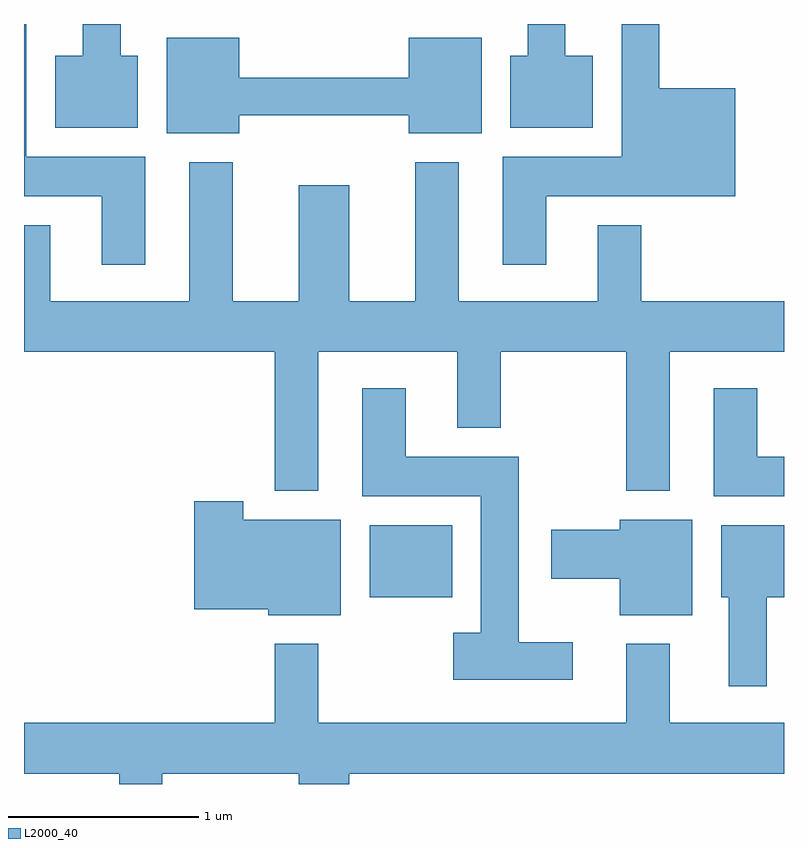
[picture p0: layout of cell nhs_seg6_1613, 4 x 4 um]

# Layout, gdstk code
import gdstk
lib = gdstk.Library(unit=1e-6, precision=1e-09)
def R(c, l, rs):  # rectangles x0, y0, x1, y1
    for r in rs: c.add(gdstk.rectangle(r[:2], r[2:], *l))
def P(c, l, *ps):  # polygons
    for p in ps: c.add(gdstk.Polygon(p, *l))
L2000_40 = (2000, 40)

nhs_seg6_1613 = lib.new_cell('nhs_seg6_1613')
R(nhs_seg6_1613, L2000_40, [(235.431,1593.146,235.864,1593.524)])
P(nhs_seg6_1613, L2000_40, [(236.604,1595.994),(236.459,1595.994),(236.459,1596.162),(236.261,1596.162),(236.261,1595.994),(236.171,1595.994),(236.171,1595.616),(236.604,1595.616)],
  [(236.359,1595.256),(237.354,1595.256),(237.354,1595.824),(236.954,1595.824),(236.954,1596.162),(236.756,1596.162),(236.756,1595.464),(236.131,1595.464),(236.131,1594.896),(236.359,1594.896)],
  [(234.249,1595.464),(233.624,1595.464),(233.624,1596.162),(233.611,1596.162),(233.611,1595.256),(234.021,1595.256),(234.021,1594.896),(234.249,1594.896)],
  [(234.209,1595.994),(234.119,1595.994),(234.119,1596.162),(233.921,1596.162),(233.921,1595.994),(233.776,1595.994),(233.776,1595.616),(234.209,1595.616)],
  [(234.744,1595.681),(235.636,1595.681),(235.636,1595.586),(236.019,1595.586),(236.019,1596.089),(235.636,1596.089),(235.636,1595.879),(234.744,1595.879),(234.744,1596.089),(234.361,1596.089),(234.361,1595.586),(234.744,1595.586)],
  [(235.159,1594.436),(235.891,1594.436),(235.891,1594.036),(236.119,1594.036),(236.119,1594.436),(236.781,1594.436),(236.781,1593.706),(237.009,1593.706),(237.009,1594.436),(237.611,1594.436),(237.611,1594.704),(236.859,1594.704),(236.859,1595.104),(236.631,1595.104),(236.631,1594.704),(235.899,1594.704),(235.899,1595.434),(235.671,1595.434),(235.671,1594.704),(235.324,1594.704),(235.324,1595.314),(235.056,1595.314),(235.056,1594.704),(234.709,1594.704),(234.709,1595.434),(234.481,1595.434),(234.481,1594.704),(233.749,1594.704),(233.749,1595.104),(233.611,1595.104),(233.611,1594.436),(234.931,1594.436),(234.931,1593.706),(235.159,1593.706)],
  [(237.611,1593.884),(237.469,1593.884),(237.469,1594.244),(237.241,1594.244),(237.241,1593.676),(237.611,1593.676)],
  [(236.499,1592.909),(236.214,1592.909),(236.214,1593.884),(235.619,1593.884),(235.619,1594.244),(235.391,1594.244),(235.391,1593.676),(236.016,1593.676),(236.016,1592.959),(235.871,1592.959),(235.871,1592.711),(236.499,1592.711)],
  [(235.279,1593.554),(234.764,1593.554),(234.764,1593.649),(234.506,1593.649),(234.506,1593.081),(234.896,1593.081),(234.896,1593.051),(235.279,1593.051)],
  [(237.129,1593.554),(236.746,1593.554),(236.746,1593.499),(236.386,1593.499),(236.386,1593.241),(236.746,1593.241),(236.746,1593.051),(237.129,1593.051)],
  [(237.519,1593.146),(237.611,1593.146),(237.611,1593.524),(237.281,1593.524),(237.281,1593.146),(237.321,1593.146),(237.321,1592.676),(237.519,1592.676)],
  [(234.339,1592.216),(235.056,1592.216),(235.056,1592.162),(235.324,1592.162),(235.324,1592.216),(237.611,1592.216),(237.611,1592.484),(237.009,1592.484),(237.009,1592.899),(236.781,1592.899),(236.781,1592.484),(235.159,1592.484),(235.159,1592.899),(234.931,1592.899),(234.931,1592.484),(233.611,1592.484),(233.611,1592.216),(234.111,1592.216),(234.111,1592.162),(234.339,1592.162)])

lib.write_gds('nhs_seg6_1613.gds')
